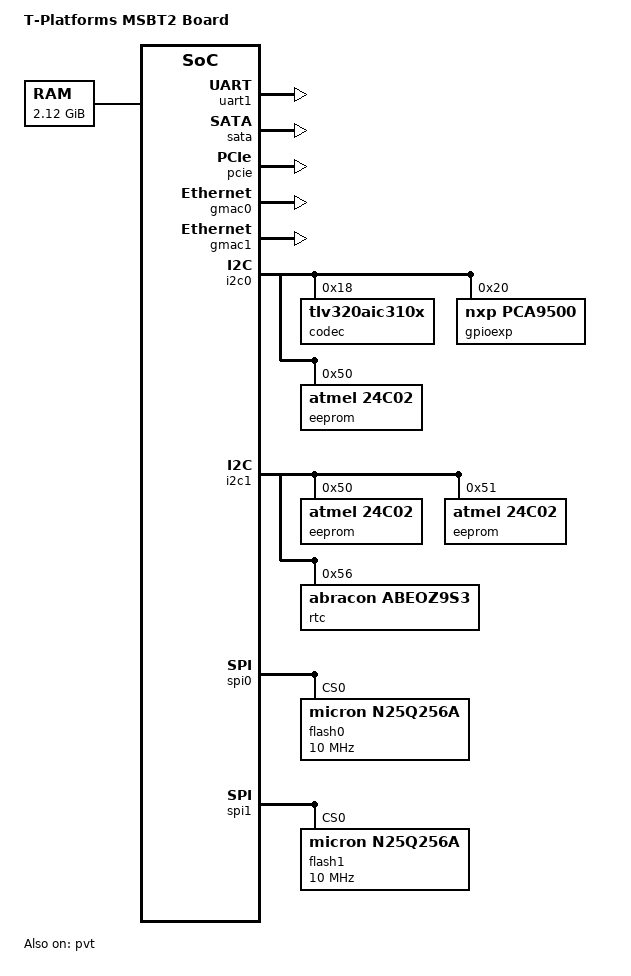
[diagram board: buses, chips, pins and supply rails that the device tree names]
/*
 * Baikal-T BFK board device tree.
 *
 * Copyright (C) 2014,2015  Baikal Electronics JSC
 *
 * This program is free software; you can redistribute it and/or
 * modify it under the terms of the GNU General Public License
 * as published by the Free Software Foundation; either version 2
 * of the License, or (at your option) any later version.
 *
 * This program is distributed in the hope that it will be useful,
 * but WITHOUT ANY WARRANTY; without even the implied warranty of
 * MERCHANTABILITY or FITNESS FOR A PARTICULAR PURPOSE.  See the
 * GNU General Public License for more details.
 *
 * You should have received a copy of the GNU General Public License
 * along with this program; if not, write to the Free Software
 * Foundation, Inc., 51 Franklin Street, Fifth Floor, Boston, MA  02110-1301, USA.
 */

#include <dt-bindings/interrupt-controller/mips-gic.h>

/dts-v1/;

#include "baikal_t1_soc.dtsi"

/ {
	model = "T-Platforms MSBT2 Board";
	compatible = "baikal,mips", "baikal,baikal-t1-soc";
	#address-cells = <1>;
	#size-cells = <1>;
	interrupt-parent = <&gic>;

	chosen {
		bootargs = "root=/dev/ram rw console=ttyS0,mmio32,38400 earlyprintk=uart8250,mmio32,0x1F04A000,38400 nohtw";
		linux,initrd-start = <0x01000000>;
		linux,initrd-end   = <0x02000000>;
	};

	memory {
		device_type = "memory";
		reg = <0x00000000 0x08000000>,
		      <0x20000000 0x80000000>;
	};
};

&uart1 {
	status = "ok";
};

&sata {
	status = "ok";
};

&pcie {
	status = "ok";
};

&gmac0 {
	status = "ok";
};

&gmac1 {
	status = "ok";
};

&gpio {
	status = "ok";
};

&gpio3 {
	status = "ok";
};

&i2c0 {
	status = "ok";

	codec@18 {
		compatible = "tlv320aic310x";
		reg = <0x18>;
	};

	gpioexp: gpioexp@20 {
		compatible = "nxp,pca9500";
		reg = <0x20>;
	};

	eeprom@50 {
		compatible = "atmel,24c02";
		pagesize = <16>;
		reg = <0x50>;
	};
};

&i2c1 {
	status = "ok";

	eeprom@50 {
		compatible = "atmel,24c02";
		pagesize = <16>;
		reg = <0x50>;
	};

	eeprom@51 {
		compatible = "atmel,24c02";
		pagesize = <16>;
		reg = <0x51>;
	};

	rtc@56 {
		compatible = "abracon,abeoz9s3";
		reg = <0x56>;
	};

};

&spi0 {
	status = "ok";
	num-cs = <1>;
	reg-io-width = <4>;
	cs_gpios = <&porta 17 0>;

	flash0: m25p80@0 {
		#address-cells = <1>;
		#size-cells = <1>;
		status = "okay";
		compatible = "micron,n25q256a";
		reg = <0>;
		spi-max-frequency = <10000000>;
		m25p,fast-read;

		mtd0@00000000 {
			label = "flash0";
			reg = <0x00000000 0x02000000>;
		};
	};
};

&spi1 {
	status = "ok";
	num-cs = <1>;
	reg-io-width = <4>;

	flash1: m25p80@0 {
		#address-cells = <1>;
		#size-cells = <1>;
		status = "okay";
		compatible = "micron,n25q256a";
		reg = <0>;
		spi-max-frequency = <10000000>;
		m25p,fast-read;

		mtd1@00000000 {
			label = "flash1";
			reg = <0x00000000 0x02000000>;
		};
	};
};

&pvt {
	status = "ok";
};

